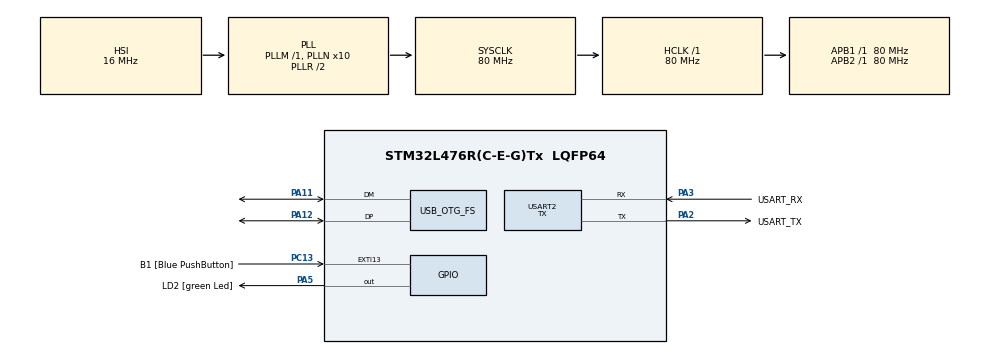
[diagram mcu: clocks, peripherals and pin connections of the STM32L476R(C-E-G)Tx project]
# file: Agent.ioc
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Mcu.Family=STM32L4
Mcu.Name=STM32L476R(C-E-G)Tx
Mcu.Package=LQFP64
NVIC.OTG_FS_IRQn=true\:0\:0\:false\:false\:true\:false
NVIC.PriorityGroup=NVIC_PRIORITYGROUP_4
PA11.Mode=Device_Only
PA11.Signal=USB_OTG_FS_DM
PA12.Mode=Device_Only
PA12.Signal=USB_OTG_FS_DP
PA13\ (JTMS-SWDIO).GPIO_Label=TMS
PA13\ (JTMS-SWDIO).Mode=Trace_Asynchronous_SW
PA13\ (JTMS-SWDIO).Signal=SYS_JTMS-SWDIO
PA14\ (JTCK-SWCLK).GPIO_Label=TCK
PA14\ (JTCK-SWCLK).Mode=Trace_Asynchronous_SW
PA14\ (JTCK-SWCLK).Signal=SYS_JTCK-SWCLK
PA2.GPIO_Label=USART_TX
PA2.GPIO_Mode=GPIO_MODE_AF_PP
PA2.GPIO_PuPd=GPIO_NOPULL
PA2.GPIO_Speed=GPIO_SPEED_FREQ_VERY_HIGH
PA2.Mode=Asynchronous
PA2.Signal=USART2_TX
PA3.GPIO_Label=USART_RX
PA3.GPIO_Mode=GPIO_MODE_AF_PP
PA3.GPIO_PuPd=GPIO_NOPULL
PA3.GPIO_Speed=GPIO_SPEED_FREQ_VERY_HIGH
PA3.Mode=Asynchronous
PA3.Signal=USART2_RX
PA5.GPIO_Label=LD2 [green Led]
PA5.GPIO_ModeDefaultOutputPP=GPIO_MODE_OUTPUT_PP
PA5.GPIO_PuPd=GPIO_NOPULL
PA5.GPIO_Speed=GPIO_SPEED_FREQ_LOW
PA5.Signal=GPIO_Output
PB3\ (JTDO-TRACESWO).GPIO_Label=SWO
PB3\ (JTDO-TRACESWO).Mode=Trace_Asynchronous_SW
PB3\ (JTDO-TRACESWO).Signal=SYS_JTDO-SWO
PC13.GPIO_Label=B1 [Blue PushButton]
PC13.GPIO_ModeDefaultEXTI=GPIO_MODE_IT_FALLING
PC13.GPIO_PuPd=GPIO_NOPULL
PC13.Signal=GPXTI13
PC14-OSC32_IN\ (PC14).Mode=LSE-External-Oscillator
PC14-OSC32_IN\ (PC14).Signal=RCC_OSC32_IN
PC15-OSC32_OUT\ (PC15).Mode=LSE-External-Oscillator
PC15-OSC32_OUT\ (PC15).Signal=RCC_OSC32_OUT
PH0-OSC_IN\ (PH0).Signal=RCC_OSC_IN
PH1-OSC_OUT\ (PH1).Signal=RCC_OSC_OUT
ProjectManager.HeapSize=0x2000
ProjectManager.StackSize=0x2000
ProjectManager.TargetToolchain=TrueSTUDIO
RCC.ADCFreq_Value=64000000
RCC.AHBFreq_Value=80000000
RCC.APB1Freq_Value=80000000
RCC.APB1TimFreq_Value=80000000
RCC.APB2Freq_Value=80000000
RCC.APB2TimFreq_Value=80000000
RCC.CK48CLockSelection=RCC_USBCLKSOURCE_MSI
RCC.CortexFreq_Value=80000000
RCC.HCLKFreq_Value=80000000
RCC.HSE_VALUE=8000000
RCC.HSI_VALUE=16000000
RCC.MSIClockRange=RCC_MSIRANGE_11
RCC.MSI_VALUE=48000000
RCC.PLLN=10
RCC.PLLSourceVirtual=RCC_PLLSOURCE_HSI
RCC.PREFETCH_ENABLE=1
RCC.RTCClockSelection=RCC_RTCCLKSOURCE_LSE
RCC.SYSCLKFreq_VALUE=80000000
RCC.SYSCLKSource=RCC_SYSCLKSOURCE_PLLCLK
RCC.USBFreq_Value=48000000
RCC.VCOOutputFreq_Value=160000000
RTC.Format=RTC_FORMAT_BIN
USART2.Mode=MODE_TX
USART2.VirtualMode-Asynchronous=VM_ASYNC
USART2.WordLength=WORDLENGTH_8B
USB_DEVICE.CLASS_NAME_FS=CDC
USB_DEVICE.VirtualMode=Cdc
USB_DEVICE.VirtualModeFS=Cdc_FS
USB_OTG_FS.VirtualMode=Device_Only
VP_RNG_VS_RNG.Mode=RNG_Activate
VP_RTC_VS_RTC_Activate.Mode=RTC_Enabled
VP_RTC_VS_RTC_Calendar.Mode=RTC_Calendar
VP_USB_DEVICE_VS_USB_DEVICE_CDC_FS.Mode=CDC_FS
board=NUCLEO-L476RG

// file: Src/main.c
/**
  ******************************************************************************
  * @file           : main.c
  * @brief          : Main program body
  ******************************************************************************
  * This notice applies to any and all portions of this file
  * that are not between comment pairs USER CODE BEGIN and
  * USER CODE END. Other portions of this file, whether
  * inserted by the user or by software development tools
  * are owned by their respective copyright owners.
  *
  * Copyright (c) 2018 STMicroelectronics International N.V.
  * All rights reserved.
  *
  * Redistribution and use in source and binary forms, with or without
  * modification, are permitted, provided that the following conditions are met:
  *
  * 1. Redistribution of source code must retain the above copyright notice,
  *    this list of conditions and the following disclaimer.
  * 2. Redistributions in binary form must reproduce the above copyright notice,
  *    this list of conditions and the following disclaimer in the documentation
  *    and/or other materials provided with the distribution.
  * 3. Neither the name of STMicroelectronics nor the names of other
  *    contributors to this software may be used to endorse or promote products
  *    derived from this software without specific written permission.
  * 4. This software, including modifications and/or derivative works of this
  *    software, must execute solely and exclusively on microcontroller or
  *    microprocessor devices manufactured by or for STMicroelectronics.
  * 5. Redistribution and use of this software other than as permitted under
  *    this license is void and will automatically terminate your rights under
  *    this license.
  *
  * THIS SOFTWARE IS PROVIDED BY STMICROELECTRONICS AND CONTRIBUTORS "AS IS"
  * AND ANY EXPRESS, IMPLIED OR STATUTORY WARRANTIES, INCLUDING, BUT NOT
  * LIMITED TO, THE IMPLIED WARRANTIES OF MERCHANTABILITY, FITNESS FOR A
  * PARTICULAR PURPOSE AND NON-INFRINGEMENT OF THIRD PARTY INTELLECTUAL PROPERTY
  * RIGHTS ARE DISCLAIMED TO THE FULLEST EXTENT PERMITTED BY LAW. IN NO EVENT
  * SHALL STMICROELECTRONICS OR CONTRIBUTORS BE LIABLE FOR ANY DIRECT, INDIRECT,
  * INCIDENTAL, SPECIAL, EXEMPLARY, OR CONSEQUENTIAL DAMAGES (INCLUDING, BUT NOT
  * LIMITED TO, PROCUREMENT OF SUBSTITUTE GOODS OR SERVICES; LOSS OF USE, DATA,
  * OR PROFITS; OR BUSINESS INTERRUPTION) HOWEVER CAUSED AND ON ANY THEORY OF
  * LIABILITY, WHETHER IN CONTRACT, STRICT LIABILITY, OR TORT (INCLUDING
  * NEGLIGENCE OR OTHERWISE) ARISING IN ANY WAY OUT OF THE USE OF THIS SOFTWARE,
  * EVEN IF ADVISED OF THE POSSIBILITY OF SUCH DAMAGE.
  *
  ******************************************************************************
  */
#include "main.h"
#include "stm32l4xx_hal.h"
#include "usb_device.h"

/* USER CODE BEGIN Includes */
#include <stdint.h>
#include <stdbool.h>
#include <time.h>
#include "StmUtil.h"
#include <cyrep/RiotTarget.h>
#include <cyrep/RiotStatus.h>
#include <cyrep/RiotEcc.h>
#include <cyrep/RiotCrypt.h>
#include <BarnacleTA.h>

/* USER CODE END Includes */

RNG_HandleTypeDef hrng;

RTC_HandleTypeDef hrtc;

UART_HandleTypeDef huart2;

/* USER CODE BEGIN PV */
/* Private variables ---------------------------------------------------------*/

/* USER CODE END PV */

void SystemClock_Config(void);
static void MX_GPIO_Init(void);
static void MX_USART2_UART_Init(void);
static void MX_RNG_Init(void);
static void MX_RTC_Init(void);

/* USER CODE BEGIN PFP */
/* Private function prototypes -----------------------------------------------*/

/* USER CODE END PFP */

int main(void)
{
  /* USER CODE BEGIN 1 */
  char agentPolicy[] = "This is the agent policy.\r\n";
  /* USER CODE END 1 */

  /* MCU Configuration----------------------------------------------------------*/

  /* Reset of all peripherals, Initializes the Flash interface and the Systick. */
  HAL_Init();

  /* Configure the system clock */
  SystemClock_Config();

  /* Initialize all configured peripherals */
  MX_GPIO_Init();
  MX_USART2_UART_Init();
  MX_RNG_Init();
  MX_RTC_Init();
  MX_USB_DEVICE_Init();
  /* USER CODE BEGIN 2 */
  InitializeITM();
  char* dateStr = asctime(localtime((time_t*)&AgentHdrTA.s.sign.agent.issued));
  dateStr[24] = '\0';
  dbgPrintAppend("\r\n\r\n=======================\r\n"
                          "= Nucleo-L476RG Agent =\r\n"
                          "=======================\r\n"
                          "%s (%u bytes, V%d.%d, %s)\r\n",
                          AgentHdrTA.s.sign.agent.name,
                          (unsigned int)AgentHdrTA.s.sign.agent.size,
                          (short unsigned int)AgentHdrTA.s.sign.agent.version >> 16,
                          (short unsigned int)AgentHdrTA.s.sign.agent.version % 0x0000ffff,
                          dateStr);
  logInfo("DeviceID:\r\n0x");
  {
      uint8_t devicePub[65] = {0};
      RiotCrypt_ExportEccPub((RIOT_ECC_PUBLIC*)&CertStoreTA.info.devicePubKey, devicePub, NULL);
      for(uint32_t n = 0; n < sizeof(devicePub); n++)
      {
          if (!((n + 1) % 22) && (n > 0)) dbgPrintAppend("\r\n");
          dbgPrintAppend("%02x", devicePub[n]);
      }
  }
  dbgPrintAppend("\r\n");

  printf("Nucleo-L476RG Agent\r\n");

  if(!BarnacleTADerivePolicyIdentity((uint8_t*)agentPolicy, sizeof(agentPolicy)))
  {
      logError("BarnacleDerivePolicyIdentity() failed.\r\n");
      Error_Handler();
  }
  logInfo("CertStore:\r\n");
  BarnacleTAPrintCertStore(stderr);

  /* USER CODE END 2 */

  /* Infinite loop */
  /* USER CODE BEGIN WHILE */
  while (1)
  {
    uint32_t trigger = HAL_RNG_GetRandomNumber(&hrng);

  /* USER CODE END WHILE */

  /* USER CODE BEGIN 3 */
    HAL_Delay(5000);
    logInfo("Hello World! (0x%08x)\r\n", (unsigned int)trigger);
    if((trigger & 0x0000000f) == 0x0f)
    {
      uint32_t* pAttack = (uint32_t*)0x080fe000;
      fprintf(stderr, "Simulating Attack...\r\n");
      HAL_Delay(1);
      trigger = *pAttack;
    }
  }
  /* USER CODE END 3 */

}

void SystemClock_Config(void)
{

  RCC_OscInitTypeDef RCC_OscInitStruct;
  RCC_ClkInitTypeDef RCC_ClkInitStruct;
  RCC_PeriphCLKInitTypeDef PeriphClkInit;

    /**Configure LSE Drive Capability
    */
  HAL_PWR_EnableBkUpAccess();

  __HAL_RCC_LSEDRIVE_CONFIG(RCC_LSEDRIVE_LOW);

    /**Initializes the CPU, AHB and APB busses clocks
    */
  RCC_OscInitStruct.OscillatorType = RCC_OSCILLATORTYPE_HSI|RCC_OSCILLATORTYPE_LSE
                              |RCC_OSCILLATORTYPE_MSI;
  RCC_OscInitStruct.LSEState = RCC_LSE_ON;
  RCC_OscInitStruct.HSIState = RCC_HSI_ON;
  RCC_OscInitStruct.HSICalibrationValue = 16;
  RCC_OscInitStruct.MSIState = RCC_MSI_ON;
  RCC_OscInitStruct.MSICalibrationValue = 0;
  RCC_OscInitStruct.MSIClockRange = RCC_MSIRANGE_11;
  RCC_OscInitStruct.PLL.PLLState = RCC_PLL_ON;
  RCC_OscInitStruct.PLL.PLLSource = RCC_PLLSOURCE_HSI;
  RCC_OscInitStruct.PLL.PLLM = 1;
  RCC_OscInitStruct.PLL.PLLN = 10;
  RCC_OscInitStruct.PLL.PLLP = RCC_PLLP_DIV7;
  RCC_OscInitStruct.PLL.PLLQ = RCC_PLLQ_DIV2;
  RCC_OscInitStruct.PLL.PLLR = RCC_PLLR_DIV2;
  if (HAL_RCC_OscConfig(&RCC_OscInitStruct) != HAL_OK)
  {
    _Error_Handler(__FILE__, __LINE__);
  }

    /**Initializes the CPU, AHB and APB busses clocks
    */
  RCC_ClkInitStruct.ClockType = RCC_CLOCKTYPE_HCLK|RCC_CLOCKTYPE_SYSCLK
                              |RCC_CLOCKTYPE_PCLK1|RCC_CLOCKTYPE_PCLK2;
  RCC_ClkInitStruct.SYSCLKSource = RCC_SYSCLKSOURCE_PLLCLK;
  RCC_ClkInitStruct.AHBCLKDivider = RCC_SYSCLK_DIV1;
  RCC_ClkInitStruct.APB1CLKDivider = RCC_HCLK_DIV1;
  RCC_ClkInitStruct.APB2CLKDivider = RCC_HCLK_DIV1;

  if (HAL_RCC_ClockConfig(&RCC_ClkInitStruct, FLASH_LATENCY_4) != HAL_OK)
  {
    _Error_Handler(__FILE__, __LINE__);
  }

  PeriphClkInit.PeriphClockSelection = RCC_PERIPHCLK_RTC|RCC_PERIPHCLK_USART2
                              |RCC_PERIPHCLK_USB|RCC_PERIPHCLK_RNG;
  PeriphClkInit.Usart2ClockSelection = RCC_USART2CLKSOURCE_PCLK1;
  PeriphClkInit.RTCClockSelection = RCC_RTCCLKSOURCE_LSE;
  PeriphClkInit.UsbClockSelection = RCC_USBCLKSOURCE_MSI;
  PeriphClkInit.RngClockSelection = RCC_RNGCLKSOURCE_MSI;
  if (HAL_RCCEx_PeriphCLKConfig(&PeriphClkInit) != HAL_OK)
  {
    _Error_Handler(__FILE__, __LINE__);
  }

    /**Configure the main internal regulator output voltage
    */
  if (HAL_PWREx_ControlVoltageScaling(PWR_REGULATOR_VOLTAGE_SCALE1) != HAL_OK)
  {
    _Error_Handler(__FILE__, __LINE__);
  }

    /**Configure the Systick interrupt time
    */
  HAL_SYSTICK_Config(HAL_RCC_GetHCLKFreq()/1000);

    /**Configure the Systick
    */
  HAL_SYSTICK_CLKSourceConfig(SYSTICK_CLKSOURCE_HCLK);

    /**Enable MSI Auto calibration
    */
  HAL_RCCEx_EnableMSIPLLMode();

  /* SysTick_IRQn interrupt configuration */
  HAL_NVIC_SetPriority(SysTick_IRQn, 0, 0);
}

/* RNG init function */
static void MX_RNG_Init(void)
{

  hrng.Instance = RNG;
  if (HAL_RNG_Init(&hrng) != HAL_OK)
  {
    _Error_Handler(__FILE__, __LINE__);
  }

}

/* RTC init function */
static void MX_RTC_Init(void)
{

  RTC_TimeTypeDef sTime;
  RTC_DateTypeDef sDate;

    /**Initialize RTC Only
    */
  hrtc.Instance = RTC;
if(HAL_RTCEx_BKUPRead(&hrtc, RTC_BKP_DR0) != 0x32F2){
  hrtc.Init.HourFormat = RTC_HOURFORMAT_24;
  hrtc.Init.AsynchPrediv = 127;
  hrtc.Init.SynchPrediv = 255;
  hrtc.Init.OutPut = RTC_OUTPUT_DISABLE;
  hrtc.Init.OutPutRemap = RTC_OUTPUT_REMAP_NONE;
  hrtc.Init.OutPutPolarity = RTC_OUTPUT_POLARITY_HIGH;
  hrtc.Init.OutPutType = RTC_OUTPUT_TYPE_OPENDRAIN;
  if (HAL_RTC_Init(&hrtc) != HAL_OK)
  {
    _Error_Handler(__FILE__, __LINE__);
  }

    /**Initialize RTC and set the Time and Date
    */
  sTime.Hours = 0;
  sTime.Minutes = 0;
  sTime.Seconds = 0;
  sTime.DayLightSaving = RTC_DAYLIGHTSAVING_NONE;
  sTime.StoreOperation = RTC_STOREOPERATION_RESET;
  if (HAL_RTC_SetTime(&hrtc, &sTime, RTC_FORMAT_BIN) != HAL_OK)
  {
    _Error_Handler(__FILE__, __LINE__);
  }

  sDate.WeekDay = RTC_WEEKDAY_MONDAY;
  sDate.Month = RTC_MONTH_JANUARY;
  sDate.Date = 1;
  sDate.Year = 0;

  if (HAL_RTC_SetDate(&hrtc, &sDate, RTC_FORMAT_BIN) != HAL_OK)
  {
    _Error_Handler(__FILE__, __LINE__);
  }

    HAL_RTCEx_BKUPWrite(&hrtc,RTC_BKP_DR0,0x32F2);
  }

}

/* USART2 init function */
static void MX_USART2_UART_Init(void)
{

  huart2.Instance = USART2;
  huart2.Init.BaudRate = 115200;
  huart2.Init.WordLength = UART_WORDLENGTH_8B;
  huart2.Init.StopBits = UART_STOPBITS_1;
  huart2.Init.Parity = UART_PARITY_NONE;
  huart2.Init.Mode = UART_MODE_TX;
  huart2.Init.HwFlowCtl = UART_HWCONTROL_NONE;
  huart2.Init.OverSampling = UART_OVERSAMPLING_16;
  huart2.Init.OneBitSampling = UART_ONE_BIT_SAMPLE_DISABLE;
  huart2.AdvancedInit.AdvFeatureInit = UART_ADVFEATURE_NO_INIT;
  if (HAL_UART_Init(&huart2) != HAL_OK)
  {
    _Error_Handler(__FILE__, __LINE__);
  }

}

/** Configure pins as
        * Analog
        * Input
        * Output
        * EVENT_OUT
        * EXTI
*/
static void MX_GPIO_Init(void)
{

  GPIO_InitTypeDef GPIO_InitStruct;

  /* GPIO Ports Clock Enable */
  __HAL_RCC_GPIOC_CLK_ENABLE();
  __HAL_RCC_GPIOH_CLK_ENABLE();
  __HAL_RCC_GPIOA_CLK_ENABLE();
  __HAL_RCC_GPIOB_CLK_ENABLE();

  /*Configure GPIO pin Output Level */
  HAL_GPIO_WritePin(LD2_GPIO_Port, LD2_Pin, GPIO_PIN_RESET);

  /*Configure GPIO pin : B1_Pin */
  GPIO_InitStruct.Pin = B1_Pin;
  GPIO_InitStruct.Mode = GPIO_MODE_IT_FALLING;
  GPIO_InitStruct.Pull = GPIO_NOPULL;
  HAL_GPIO_Init(B1_GPIO_Port, &GPIO_InitStruct);

  /*Configure GPIO pin : LD2_Pin */
  GPIO_InitStruct.Pin = LD2_Pin;
  GPIO_InitStruct.Mode = GPIO_MODE_OUTPUT_PP;
  GPIO_InitStruct.Pull = GPIO_NOPULL;
  GPIO_InitStruct.Speed = GPIO_SPEED_FREQ_LOW;
  HAL_GPIO_Init(LD2_GPIO_Port, &GPIO_InitStruct);

}

void _Error_Handler(char *file, int line)
{
  /* USER CODE BEGIN Error_Handler_Debug */
  dbgPrint("PANIC: EXECUTION HALTED %s@%d\r\n", file, line);
  /* User can add his own implementation to report the HAL error return state */
  while(1)
  {
  }
  /* USER CODE END Error_Handler_Debug */
}

/************************ (C) COPYRIGHT STMicroelectronics *****END OF FILE****/
